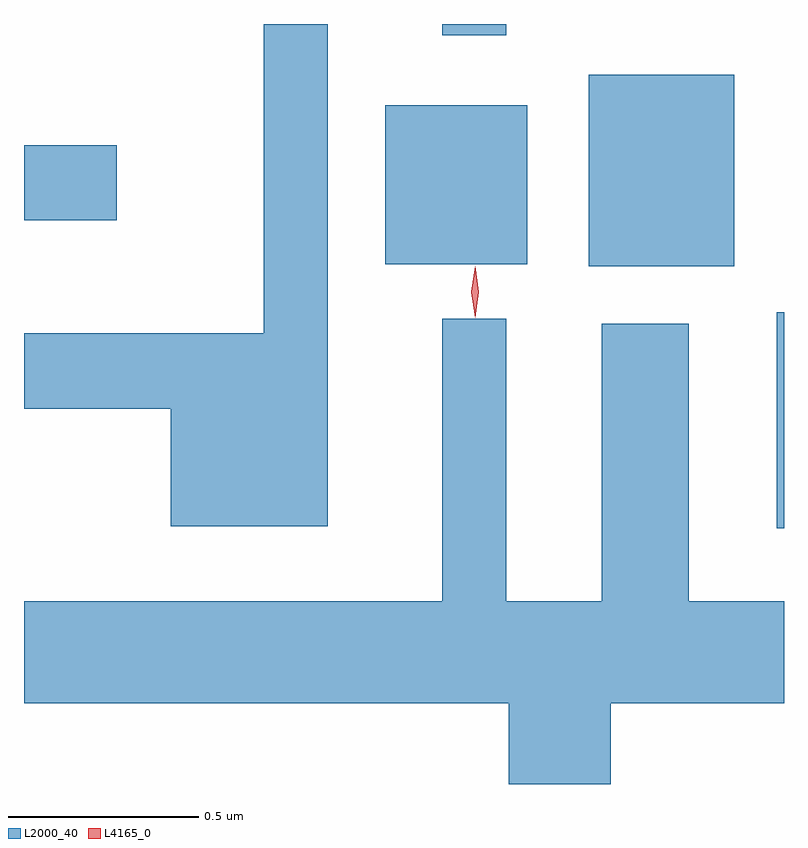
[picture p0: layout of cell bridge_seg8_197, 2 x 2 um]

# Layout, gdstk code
import gdstk
lib = gdstk.Library(unit=1e-6, precision=1e-09)
def R(c, l, rs):  # rectangles x0, y0, x1, y1
    for r in rs: c.add(gdstk.rectangle(r[:2], r[2:], *l))
def P(c, l, *ps):  # polygons
    for p in ps: c.add(gdstk.Polygon(p, *l))
L2000_40 = (2000, 40)
L4165_0 = (4165, 0)

bridge_seg8_197 = lib.new_cell('bridge_seg8_197')
R(bridge_seg8_197, L2000_40, [(1054.941,1941.216,1054.96,1941.784), (1054.446,1941.906,1054.829,1942.409), (1053.911,1941.911,1054.284,1942.329), (1052.96,1942.026,1053.204,1942.224), (1054.061,1942.513,1054.229,1942.543)])
P(bridge_seg8_197, L2000_40, [(1053.759,1942.543),(1053.591,1942.543),(1053.591,1941.729),(1052.96,1941.729),(1052.96,1941.531),(1053.346,1941.531),(1053.346,1941.221),(1053.759,1941.221)],
  [(1054.504,1940.756),(1054.96,1940.756),(1054.96,1941.024),(1054.709,1941.024),(1054.709,1941.754),(1054.481,1941.754),(1054.481,1941.024),(1054.229,1941.024),(1054.229,1941.768),(1054.061,1941.768),(1054.061,1941.024),(1052.96,1941.024),(1052.96,1940.756),(1054.236,1940.756),(1054.236,1940.543),(1054.504,1940.543)])
P(bridge_seg8_197, L4165_0, [(1054.147,1941.773),(1054.147,1941.773),(1054.137,1941.837),(1054.147,1941.901),(1054.147,1941.902),(1054.148,1941.901),(1054.157,1941.837),(1054.148,1941.773)],
  [(1054.147,1941.77),(1054.147,1941.77),(1054.137,1941.838),(1054.147,1941.906),(1054.147,1941.906),(1054.148,1941.906),(1054.157,1941.838),(1054.148,1941.77)])

lib.write_gds('bridge_seg8_197.gds')
